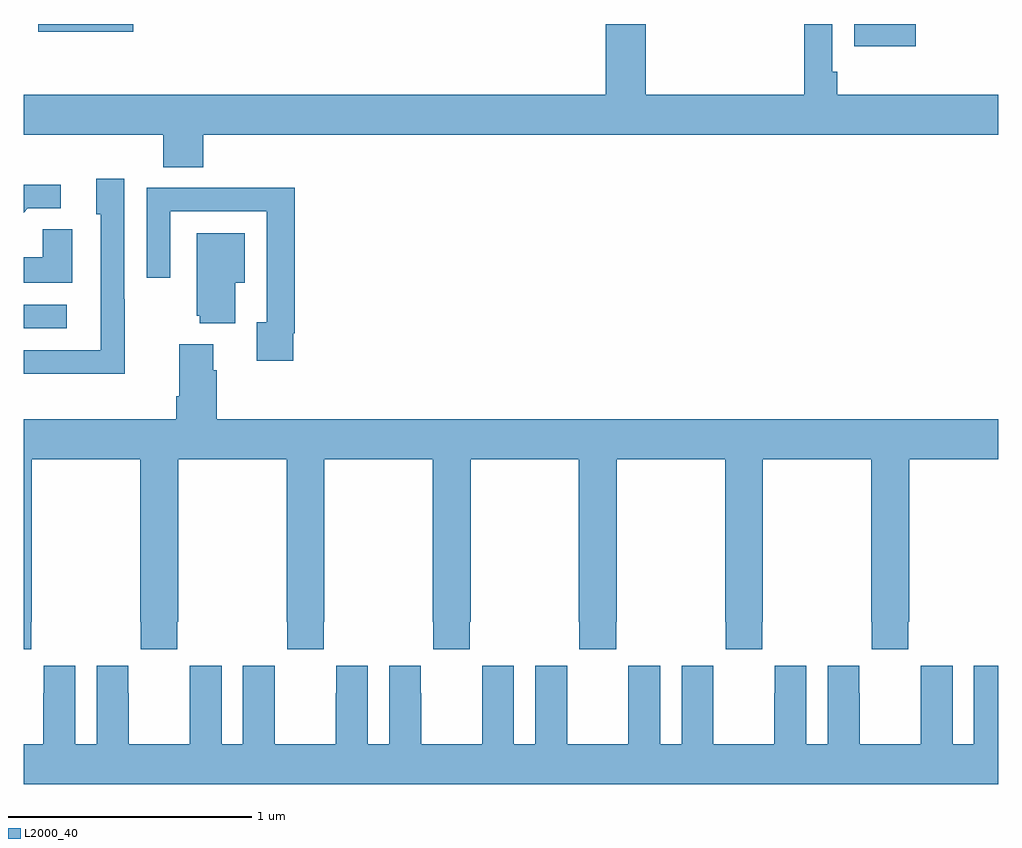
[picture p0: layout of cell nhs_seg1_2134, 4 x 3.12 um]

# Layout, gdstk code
import gdstk
lib = gdstk.Library(unit=1e-6, precision=1e-09)
def R(c, l, rs):  # rectangles x0, y0, x1, y1
    for r in rs: c.add(gdstk.rectangle(r[:2], r[2:], *l))
def P(c, l, *ps):  # polygons
    for p in ps: c.add(gdstk.Polygon(p, *l))
L2000_40 = (2000, 40)

nhs_seg1_2134 = lib.new_cell('nhs_seg1_2134')
R(nhs_seg1_2134, L2000_40, [(227,538.95,227.176,539.046), (230.408,540.107,230.662,540.199), (227.06,540.167,227.449,540.199)])
P(nhs_seg1_2134, L2000_40, [(227.738,539.744),(231,539.744),(231,539.908),(230.339,539.908),(230.339,540.004),(230.319,540.004),(230.319,540.199),(230.203,540.199),(230.203,539.908),(229.552,539.908),(229.552,540.199),(229.388,540.199),(229.388,539.908),(227,539.908),(227,539.744),(227.573,539.744),(227.573,539.611),(227.738,539.611)],
  [(227.415,539.069),(227.412,539.069),(227.412,539.563),(227.297,539.563),(227.297,539.418),(227.316,539.418),(227.316,538.86),(227,538.86),(227,538.763),(227.415,538.763)],
  [(227.017,539.442),(227.152,539.442),(227.152,539.54),(227,539.54),(227,539.425)],
  [(228.106,538.93),(228.113,538.93),(228.113,539.528),(227.821,539.528),(227.821,539.526),(227.505,539.526),(227.505,539.157),(227.601,539.157),(227.601,539.43),(227.997,539.43),(227.997,538.974),(227.957,538.974),(227.957,538.818),(228.106,538.818)],
  [(227.2,539.357),(227.079,539.357),(227.079,539.242),(227,539.242),(227,539.138),(227.2,539.138)],
  [(227.869,539.138),(227.908,539.138),(227.908,539.341),(227.711,539.341),(227.711,539.001),(227.723,539.001),(227.723,538.97),(227.869,538.97)],
  [(227.031,537.745),(227.034,537.745),(227.034,538.412),(227.479,538.412),(227.479,537.745),(227.481,537.745),(227.481,537.633),(227.631,537.633),(227.631,537.745),(227.634,537.745),(227.634,538.412),(228.079,538.412),(228.079,537.745),(228.081,537.745),(228.081,537.633),(228.231,537.633),(228.231,537.745),(228.234,537.745),(228.234,538.412),(228.679,538.412),(228.679,537.745),(228.681,537.745),(228.681,537.633),(228.831,537.633),(228.831,537.745),(228.834,537.745),(228.834,538.412),(229.279,538.412),(229.279,537.745),(229.281,537.745),(229.281,537.633),(229.431,537.633),(229.431,537.745),(229.434,537.745),(229.434,538.412),(229.879,538.412),(229.879,537.745),(229.881,537.745),(229.881,537.633),(230.031,537.633),(230.031,537.745),(230.034,537.745),(230.034,538.412),(230.479,538.412),(230.479,537.745),(230.481,537.745),(230.481,537.633),(230.631,537.633),(230.631,537.745),(230.634,537.745),(230.634,538.412),(231,538.412),(231,538.576),(227.792,538.576),(227.792,538.778),(227.779,538.778),(227.779,538.885),(227.639,538.885),(227.639,538.672),(227.627,538.672),(227.627,538.576),(227,538.576),(227,537.633),(227.031,537.633)],
  [(231,537.565),(230.9,537.565),(230.9,537.244),(230.812,537.244),(230.812,537.565),(230.682,537.565),(230.682,537.452),(230.681,537.452),(230.681,537.244),(230.431,537.244),(230.431,537.452),(230.43,537.452),(230.43,537.565),(230.3,537.565),(230.3,537.244),(230.212,537.244),(230.212,537.565),(230.082,537.565),(230.082,537.452),(230.081,537.452),(230.081,537.244),(229.831,537.244),(229.831,537.452),(229.83,537.452),(229.83,537.565),(229.7,537.565),(229.7,537.244),(229.612,537.244),(229.612,537.565),(229.482,537.565),(229.482,537.452),(229.481,537.452),(229.481,537.244),(229.231,537.244),(229.231,537.452),(229.23,537.452),(229.23,537.565),(229.1,537.565),(229.1,537.244),(229.012,537.244),(229.012,537.565),(228.882,537.565),(228.882,537.452),(228.881,537.452),(228.881,537.244),(228.631,537.244),(228.631,537.452),(228.63,537.452),(228.63,537.565),(228.5,537.565),(228.5,537.244),(228.412,537.244),(228.412,537.565),(228.282,537.565),(228.282,537.452),(228.281,537.452),(228.281,537.244),(228.031,537.244),(228.031,537.452),(228.03,537.452),(228.03,537.565),(227.9,537.565),(227.9,537.244),(227.812,537.244),(227.812,537.565),(227.682,537.565),(227.682,537.452),(227.681,537.452),(227.681,537.244),(227.431,537.244),(227.431,537.452),(227.43,537.452),(227.43,537.565),(227.3,537.565),(227.3,537.244),(227.212,537.244),(227.212,537.565),(227.082,537.565),(227.082,537.452),(227.081,537.452),(227.081,537.244),(227,537.244),(227,537.08),(231,537.08)])

lib.write_gds('nhs_seg1_2134.gds')
